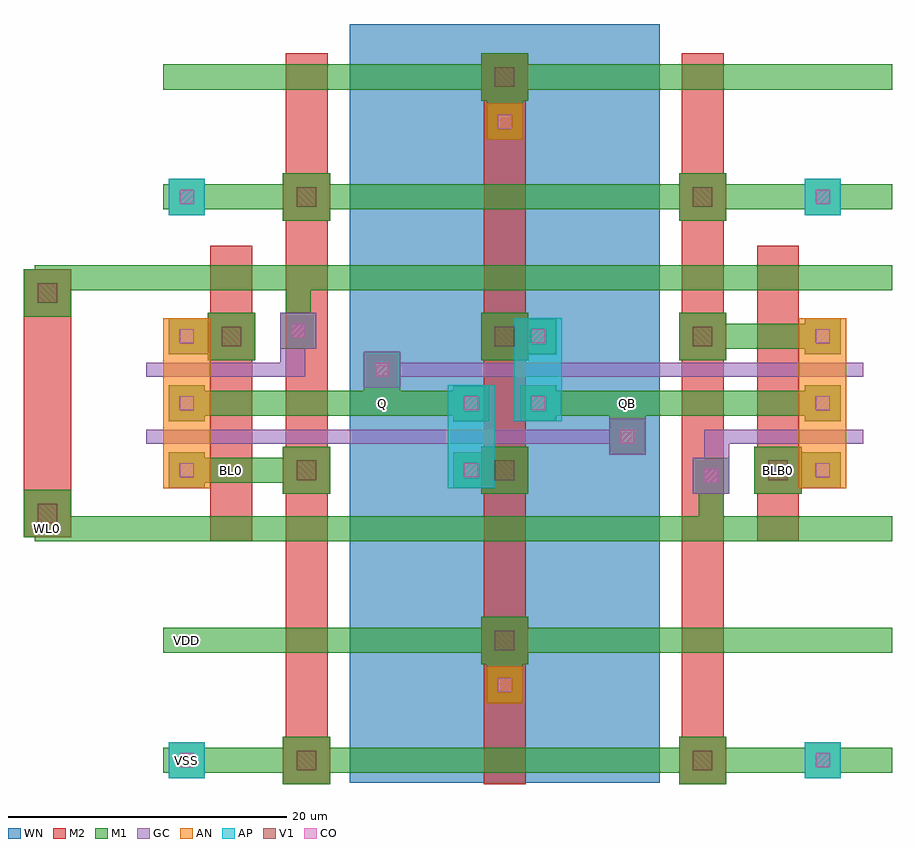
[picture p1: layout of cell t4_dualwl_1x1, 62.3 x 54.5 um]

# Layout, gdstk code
import gdstk
lib = gdstk.Library(unit=1e-6, precision=1e-07)
def R(c, l, rs):  # rectangles x0, y0, x1, y1
    for r in rs: c.add(gdstk.rectangle(r[:2], r[2:], *l))
def A(c, l, x, y, w, h, nx, ny, dx, dy):  # array of equal rectangles
    R(c, l, [(x+i*dx, y+j*dy, x+i*dx+w, y+j*dy+h) for i in range(nx) for j in range(ny)])
def P(c, l, *ps):  # polygons
    for p in ps: c.add(gdstk.Polygon(p, *l))
AP = (3, 1)
AN = (3, 2)
GC = (8, 1)
CO = (11, 0)
M1 = (13, 0)
V1 = (19, 0)
M2 = (20, 0)
WN = (140, 0)

t4_core = lib.new_cell('t4_core')
R(t4_core, AP, [(18.7,-1.3,22.1,6.1), (23.5,3.5,26.9,10.9)])
R(t4_core, AN, [(-1.7,-1.3,1.7,10.9), (43.9,-1.3,47.3,10.9)])
P(t4_core, GC, [(36.3,-1.7),(36.3,0.9),(37.1,0.9),(37.1,2.9),(48.5,2.9),(48.5,1.9),(38.9,1.9),(38.9,-1.7)],
  [(30.3,1.1),(30.3,1.9),(-2.9,1.9),(-2.9,2.9),(30.3,2.9),(30.3,3.7),(32.9,3.7),(32.9,1.1)],
  [(12.7,5.9),(12.7,8.5),(15.3,8.5),(15.3,7.7),(48.5,7.7),(48.5,6.7),(15.3,6.7),(15.3,5.9)],
  [(-2.9,6.7),(-2.9,7.7),(6.7,7.7),(6.7,11.3),(9.3,11.3),(9.3,8.7),(8.5,8.7),(8.5,6.7)])
A(t4_core, CO, -0.5, -0.5, 1, 1, 1, 3, 0, 4.8)
A(t4_core, CO, 45.1, -0.5, 1, 1, 1, 3, 0, 4.8)
R(t4_core, CO, [(37.1,-0.9,38.1,0.1), (19.9,-0.5,20.9,0.5), (31.1,1.9,32.1,2.9), (19.9,4.3,20.9,5.3), (24.7,4.3,25.7,5.3), (13.5,6.7,14.5,7.7), (24.7,9.1,25.7,10.1), (7.5,9.5,8.5,10.5)])
P(t4_core, M1, [(-2,-5.1),(-2,-3.3),(36.7,-3.3),(36.7,-1.7),(36.3,-1.7),(36.3,0.9),(38.9,0.9),(38.9,-1.7),(38.5,-1.7),(38.5,-3.3),(50.6,-3.3),(50.6,-5.1)],
  [(6.9,-1.7),(6.9,-0.9),(1.3,-0.9),(1.3,-1.3),(-1.3,-1.3),(-1.3,1.3),(1.3,1.3),(1.3,0.9),(6.9,0.9),(6.9,1.7),(10.3,1.7),(10.3,-1.7)],
  [(21.1,-1.7),(21.1,-1.3),(19.1,-1.3),(19.1,1.3),(21.1,1.3),(21.1,1.7),(24.5,1.7),(24.5,-1.7)],
  [(40.7,-1.7),(40.7,1.7),(44.1,1.7),(44.1,1.3),(46.9,1.3),(46.9,-1.3),(44.1,-1.3),(44.1,-1.7)],
  [(30.3,1.1),(30.3,3.9),(26.5,3.9),(26.5,3.5),(23.9,3.5),(23.9,6.1),(26.5,6.1),(26.5,5.7),(44.3,5.7),(44.3,6.1),(46.9,6.1),(46.9,3.5),(44.3,3.5),(44.3,3.9),(32.9,3.9),(32.9,1.1)],
  [(-1.3,3.5),(-1.3,6.1),(1.3,6.1),(1.3,5.7),(12.7,5.7),(12.7,8.5),(15.3,8.5),(15.3,5.7),(19.1,5.7),(19.1,6.1),(21.7,6.1),(21.7,3.5),(19.1,3.5),(19.1,3.9),(1.3,3.9),(1.3,3.5)],
  [(1.5,7.9),(1.5,8.3),(-1.3,8.3),(-1.3,10.9),(1.5,10.9),(1.5,11.3),(4.9,11.3),(4.9,7.9)],
  [(21.1,7.9),(21.1,11.3),(24.5,11.3),(24.5,10.9),(26.5,10.9),(26.5,8.3),(24.5,8.3),(24.5,7.9)],
  [(35.3,7.9),(35.3,11.3),(38.7,11.3),(38.7,10.5),(44.3,10.5),(44.3,10.9),(46.9,10.9),(46.9,8.3),(44.3,8.3),(44.3,8.7),(38.7,8.7),(38.7,7.9)],
  [(6.7,8.7),(6.7,11.3),(7.1,11.3),(7.1,12.9),(-2,12.9),(-2,14.7),(50.6,14.7),(50.6,12.9),(8.9,12.9),(8.9,11.3),(9.3,11.3),(9.3,8.7)])
R(t4_core, V1, [(7.9,-0.7,9.3,0.7), (22.1,-0.7,23.5,0.7), (41.7,-0.7,43.1,0.7), (2.5,8.9,3.9,10.3), (22.1,8.9,23.5,10.3), (36.3,8.9,37.7,10.3)])
A(t4_core, M2, 7.1, -5.1, 3, 21.2, 3, 1, 14.2, 0)
R(t4_core, M2, [(1.7,-5.1,4.7,16.1), (40.9,-5.1,43.9,16.1), (6.9,-1.7,10.3,1.7), (21.1,-1.7,24.5,1.7), (40.7,-1.7,44.1,1.7), (1.5,7.9,4.9,11.3), (21.1,7.9,24.5,11.3), (35.3,7.9,38.7,11.3)])
R(t4_core, WN, [(11.7,-8.3,33.9,17.9)])

t4_dualwl_1x1 = lib.new_cell('t4_dualwl_1x1')
R(t4_dualwl_1x1, AP, [(-1.3,-22.1,1.3,-19.5), (44.3,-22.1,46.9,-19.5), (-1.3,18.3,1.3,20.9), (44.3,18.3,46.9,20.9)])
R(t4_dualwl_1x1, AN, [(21.5,-16.7,24.1,-14.1), (21.5,23.7,24.1,26.3)])
R(t4_dualwl_1x1, CO, [(-0.5,-21.3,0.5,-20.3), (45.1,-21.3,46.1,-20.3), (22.3,-15.9,23.3,-14.9), (-0.5,19.1,0.5,20.1), (45.1,19.1,46.1,20.1), (22.3,24.5,23.3,25.5)])
P(t4_dualwl_1x1, M1, [(6.9,-22.5),(6.9,-21.7),(1.3,-21.7),(1.3,-22.1),(-1.3,-22.1),(-1.3,-21.7),(-1.7,-21.7),(-1.7,-19.9),(-1.3,-19.9),(-1.3,-19.5),(1.3,-19.5),(1.3,-19.9),(6.9,-19.9),(6.9,-19.1),(10.3,-19.1),(10.3,-19.9),(35.3,-19.9),(35.3,-19.1),(38.7,-19.1),(38.7,-19.9),(44.3,-19.9),(44.3,-19.5),(46.9,-19.5),(46.9,-19.9),(50.6,-19.9),(50.6,-21.7),(46.9,-21.7),(46.9,-22.1),(44.3,-22.1),(44.3,-21.7),(38.7,-21.7),(38.7,-22.5),(35.3,-22.5),(35.3,-21.7),(10.3,-21.7),(10.3,-22.5)],
  [(21.5,-16.7),(21.5,-13.9),(21.1,-13.9),(21.1,-13.1),(-1.7,-13.1),(-1.7,-11.3),(21.1,-11.3),(21.1,-10.5),(24.5,-10.5),(24.5,-11.3),(50.6,-11.3),(50.6,-13.1),(24.5,-13.1),(24.5,-13.9),(24.1,-13.9),(24.1,-16.7)],
  [(-10.9,-5.1),(-10.9,-4.8),(-11.7,-4.8),(-11.7,-1.4),(-8.3,-1.4),(-8.3,-3.3),(-1.1,-3.3),(-1.1,-5.1)],
  [(-11.7,11),(-11.7,14.4),(-10.9,14.4),(-10.9,14.7),(-1.1,14.7),(-1.1,12.9),(-8.3,12.9),(-8.3,11)],
  [(6.9,17.9),(6.9,18.7),(1.3,18.7),(1.3,18.3),(-1.3,18.3),(-1.3,18.7),(-1.7,18.7),(-1.7,20.5),(-1.3,20.5),(-1.3,20.9),(1.3,20.9),(1.3,20.5),(6.9,20.5),(6.9,21.3),(10.3,21.3),(10.3,20.5),(35.3,20.5),(35.3,21.3),(38.7,21.3),(38.7,20.5),(44.3,20.5),(44.3,20.9),(46.9,20.9),(46.9,20.5),(50.6,20.5),(50.6,18.7),(46.9,18.7),(46.9,18.3),(44.3,18.3),(44.3,18.7),(38.7,18.7),(38.7,17.9),(35.3,17.9),(35.3,18.7),(10.3,18.7),(10.3,17.9)],
  [(21.5,23.7),(21.5,26.5),(21.1,26.5),(21.1,27.3),(-1.7,27.3),(-1.7,29.1),(21.1,29.1),(21.1,29.9),(24.5,29.9),(24.5,29.1),(50.6,29.1),(50.6,27.3),(24.5,27.3),(24.5,26.5),(24.1,26.5),(24.1,23.7)])
R(t4_dualwl_1x1, V1, [(7.9,-21.5,9.3,-20.1), (36.3,-21.5,37.7,-20.1), (22.1,-12.9,23.5,-11.5), (-10.7,-3.8,-9.3,-2.4), (-10.7,12,-9.3,13.4), (7.9,18.9,9.3,20.3), (36.3,18.9,37.7,20.3), (22.1,27.5,23.5,28.9)])
A(t4_dualwl_1x1, M2, 7.1, -22.5, 3, 52.4, 3, 1, 14.2, 0)
R(t4_dualwl_1x1, M2, [(6.9,-22.5,10.3,-19.1), (35.3,-22.5,38.7,-19.1), (21.1,-13.9,24.5,-10.5), (-11.7,-4.8,-8.3,-1.4), (-11.7,-4.8,-8.3,14.4), (-11.7,11,-8.3,14.4), (6.9,17.9,10.3,21.3), (35.3,17.9,38.7,21.3), (21.1,26.5,24.5,29.9)])
R(t4_dualwl_1x1, WN, [(11.7,-22.4,33.9,32)])
t4_dualwl_1x1.add(gdstk.Reference(t4_core, (0,0)))
t4_dualwl_1x1.add(gdstk.Label('WL0', (-10,-4.2), layer=48, texttype=0))
t4_dualwl_1x1.add(gdstk.Label('VDD', (0,-12.2), layer=48, texttype=0))
t4_dualwl_1x1.add(gdstk.Label('VSS', (0,-20.8), layer=48, texttype=0))
t4_dualwl_1x1.add(gdstk.Label('Q', (14,4.8), layer=48, texttype=0))
t4_dualwl_1x1.add(gdstk.Label('QB', (31.6,4.8), layer=48, texttype=0))
t4_dualwl_1x1.add(gdstk.Label('BL0', (3.2,0), layer=49, texttype=0))
t4_dualwl_1x1.add(gdstk.Label('BLB0', (42.4,0), layer=49, texttype=0))

lib.write_gds('t4_dualwl_1x1.gds')
